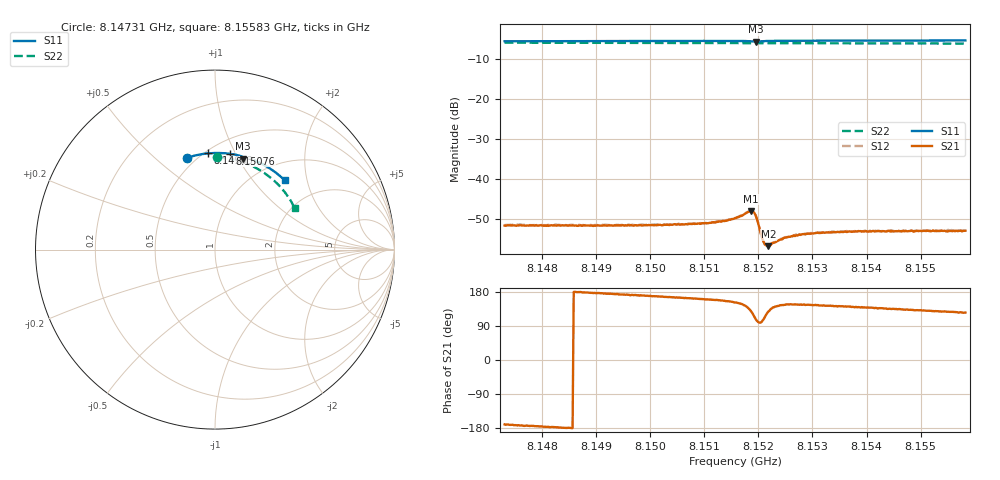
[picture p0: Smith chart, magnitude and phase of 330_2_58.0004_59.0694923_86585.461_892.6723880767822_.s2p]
#  HZ  S  RI  R  50.00
! Rohde & Schwarz Vector Network Analyzer
! Rohde-Schwarz,ZNB20-2Port,1311601062101988,3.16
! Created: UTC 3/21/2024, 1:05:04 AM
! freq[Hz]  re:S11  im:S11  re:S21  im:S21  re:S12  im:S12  re:S22  im:S22
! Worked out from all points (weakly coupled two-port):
!   401 points, 8.14731 GHz to 8.15583 GHz, reference 50 ohm
!   highest |S21| = -47.93 dB at 8.15187 GHz (marker M1); lowest = -56.8 dB at 8.15219 GHz (marker M2)
!   lowest |S11| = -5.5 dB at 8.15195 GHz (marker M3), VSWR 3.26, Z = 37.2 + j52.4 ohm
!   |S11| at or under -10 dB: nowhere
!   |S22| runs from -6.0 to -5.8 dB; largest |S21 - S12| = 0.00013
!   S11 on the Smith chart (normalised r, x): 8.14731 GHz: 0.45, +0.64; 8.14903 GHz: 0.52, +0.78; 8.15076 GHz: 0.63, +0.95; 8.15583 GHz: 1.34, +1.48
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8.147309e9  -0.1565 0.5111  -0.00258 -0.000459  -0.00264 -0.000436  0.0114 0.5132
8.148736e9  -0.0595 0.5337  -0.0026 4.97e-05  -0.00264 0.000126  0.1036 0.501
8.149034e9  -0.039 0.5363  -0.00263 0.00015  -0.00265 0.000226  0.1223 0.4963
8.150162e9  0.0396 0.5381  -0.00261 0.000571  -0.00261 0.000622  0.1912 0.4725
8.150759e9  0.0811 0.5343  -0.00262 0.000821  -0.00264 0.000871  0.2259 0.4561
8.151227e9  0.1138 0.5289  -0.00271 0.00106  -0.00275 0.00113  0.2519 0.4414
8.151568e9  0.1384 0.5228  -0.00287 0.00152  -0.00287 0.00155  0.2703 0.4297
8.151866e9  0.1582 0.5102  -0.00249 0.00315  -0.00248 0.00323  0.286 0.4185
8.151909e9  0.1585 0.5074  -0.00186 0.00343  -0.00186 0.00348  0.2879 0.4169
8.151951e9  0.1575 0.5061  -0.00106 0.00333  -0.00104 0.00338  0.2901 0.4154
8.151994e9  0.1573 0.5075  -0.000518 0.0028  -0.000488 0.00284  0.292 0.414
8.152079e9  0.1615 0.511  -0.000433 0.00169  -0.000439 0.00172  0.2965 0.4107
8.1521e9  0.1632 0.5116  -0.000506 0.00154  -0.000506 0.00154  0.2976 0.41
8.152143e9  0.1667 0.512  -0.000727 0.00129  -0.00074 0.00131  0.2998 0.4084
8.152185e9  0.1702 0.5119  -0.00089 0.00114  -0.000897 0.00118  0.302 0.4068
8.152398e9  0.1865 0.5088  -0.00142 0.00102  -0.00142 0.00104  0.3126 0.3984
8.152505e9  0.1941 0.5065  -0.00155 0.00104  -0.00155 0.00107  0.3179 0.394
8.152697e9  0.2072 0.5019  -0.00164 0.00109  -0.00169 0.00112  0.327 0.386
8.152995e9  0.2268 0.4941  -0.00171 0.00121  -0.0017 0.00123  0.3409 0.3733
8.153847e9  0.2799 0.4676  -0.00171 0.00145  -0.00167 0.00149  0.3776 0.3341
8.154422e9  0.3136 0.4468  -0.0016 0.00158  -0.00158 0.0016  0.3996 0.3054
8.155827e9  0.3887 0.3857  -0.0013 0.00185  -0.00131 0.00186  0.4445 0.2303
